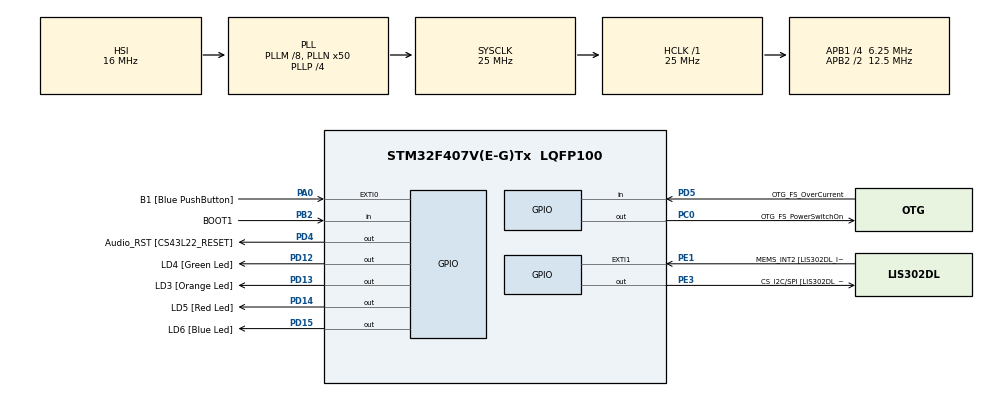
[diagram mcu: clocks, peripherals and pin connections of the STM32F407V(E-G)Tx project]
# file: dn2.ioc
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Mcu.Family=STM32F4
Mcu.Name=STM32F407V(E-G)Tx
Mcu.Package=LQFP100
NVIC.PriorityGroup=NVIC_PRIORITYGROUP_0
PA0-WKUP.GPIO_Label=B1 [Blue PushButton]
PA0-WKUP.Signal=GPXTI0
PA10.GPIO_Label=OTG_FS_ID
PA10.GPIO_Mode=GPIO_MODE_AF_PP
PA10.GPIO_PuPd=GPIO_NOPULL
PA10.GPIO_Speed=GPIO_SPEED_FREQ_LOW
PA10.Signal=USB_OTG_FS_ID
PA11.GPIO_Label=OTG_FS_DM
PA11.GPIO_Mode=GPIO_MODE_AF_PP
PA11.GPIO_PuPd=GPIO_NOPULL
PA11.GPIO_Speed=GPIO_SPEED_FREQ_LOW
PA11.Signal=USB_OTG_FS_DM
PA12.GPIO_Label=OTG_FS_DP
PA12.GPIO_Mode=GPIO_MODE_AF_PP
PA12.GPIO_PuPd=GPIO_NOPULL
PA12.GPIO_Speed=GPIO_SPEED_FREQ_LOW
PA12.Signal=USB_OTG_FS_DP
PA13.GPIO_Label=SWDIO
PA13.Signal=SYS_JTMS-SWDIO
PA14.GPIO_Label=SWCLK
PA14.Signal=SYS_JTCK-SWCLK
PA4.GPIO_Label=I2S3_WS [CS43L22_LRCK]
PA4.GPIO_Mode=GPIO_MODE_AF_PP
PA4.GPIO_PuPd=GPIO_NOPULL
PA4.GPIO_Speed=GPIO_SPEED_FREQ_LOW
PA4.Signal=I2S3_WS
PA5.GPIO_Label=SPI1_SCK [LIS302DL_SCL/SPC]
PA5.GPIO_Mode=GPIO_MODE_AF_PP
PA5.GPIO_PuPd=GPIO_NOPULL
PA5.GPIO_Speed=GPIO_SPEED_FREQ_LOW
PA5.Signal=SPI1_SCK
PA6.GPIO_Label=SPI1_MISO [LIS302DL_SDO]
PA6.GPIO_Mode=GPIO_MODE_AF_PP
PA6.GPIO_PuPd=GPIO_NOPULL
PA6.GPIO_Speed=GPIO_SPEED_FREQ_LOW
PA6.Signal=SPI1_MISO
PA7.GPIO_Label=SPI1_MOSI [LIS302DL_SDA/SDI/SDO]
PA7.GPIO_Mode=GPIO_MODE_AF_PP
PA7.GPIO_PuPd=GPIO_NOPULL
PA7.GPIO_Speed=GPIO_SPEED_FREQ_LOW
PA7.Signal=SPI1_MOSI
PA9.GPIO_Label=VBUS_FS
PA9.GPIO_Mode=GPIO_MODE_INPUT
PA9.GPIO_PuPd=GPIO_NOPULL
PA9.Signal=USB_OTG_FS_VBUS
PB10.GPIO_Label=CLK_IN [MP45DT02_CLK]
PB10.GPIO_Mode=GPIO_MODE_AF_PP
PB10.GPIO_PuPd=GPIO_NOPULL
PB10.GPIO_Speed=GPIO_SPEED_FREQ_LOW
PB10.Signal=I2S2_CK
PB2.GPIO_Label=BOOT1
PB2.GPIO_Mode=GPIO_MODE_INPUT
PB2.GPIO_PuPd=GPIO_NOPULL
PB2.Signal=GPIO_Input
PB3.GPIO_Label=SWO
PB3.Signal=SYS_JTDO-SWO
PB6.GPIO_Label=Audio_SCL [CS43L22_SCL]
PB6.GPIO_Mode=GPIO_MODE_AF_OD
PB6.GPIO_PuPd=GPIO_NOPULL
PB6.GPIO_Speed=GPIO_SPEED_FREQ_LOW
PB6.Signal=I2C1_SCL
PB9.GPIO_Label=Audio_SDA [CS43L22_SDA]
PB9.GPIO_Mode=GPIO_MODE_AF_OD
PB9.GPIO_PuPd=GPIO_NOPULL
PB9.GPIO_Speed=GPIO_SPEED_FREQ_LOW
PB9.Signal=I2C1_SDA
PC0.GPIO_Label=OTG_FS_PowerSwitchOn
PC0.GPIO_PuPd=GPIO_NOPULL
PC0.GPIO_Speed=GPIO_SPEED_FREQ_LOW
PC0.PinState=GPIO_PIN_SET
PC0.Signal=GPIO_Output
PC10.GPIO_Label=I2S3_SCK [CS43L22_SCLK]
PC10.GPIO_Mode=GPIO_MODE_AF_PP
PC10.GPIO_PuPd=GPIO_NOPULL
PC10.GPIO_Speed=GPIO_SPEED_FREQ_LOW
PC10.Signal=I2S3_CK
PC12.GPIO_Label=I2S3_SD [CS43L22_SDIN]
PC12.GPIO_Mode=GPIO_MODE_AF_PP
PC12.GPIO_PuPd=GPIO_NOPULL
PC12.GPIO_Speed=GPIO_SPEED_FREQ_LOW
PC12.Signal=I2S3_SD
PC14-OSC32_IN.GPIO_Label=PC14-OSC32_IN
PC14-OSC32_IN.Signal=RCC_OSC32_IN
PC15-OSC32_OUT.GPIO_Label=PC15-OSC32_OUT
PC15-OSC32_OUT.Signal=RCC_OSC32_OUT
PC3.GPIO_Label=PDM_OUT [MP45DT02_DOUT]
PC3.GPIO_Mode=GPIO_MODE_AF_PP
PC3.GPIO_PuPd=GPIO_NOPULL
PC3.GPIO_Speed=GPIO_SPEED_FREQ_LOW
PC3.Signal=I2S2_SD
PC7.GPIO_Label=I2S3_MCK [CS43L22_MCLK]
PC7.GPIO_Mode=GPIO_MODE_AF_PP
PC7.GPIO_PuPd=GPIO_NOPULL
PC7.GPIO_Speed=GPIO_SPEED_FREQ_LOW
PC7.Signal=I2S3_MCK
PD12.GPIO_Label=LD4 [Green Led]
PD12.GPIO_PuPd=GPIO_NOPULL
PD12.GPIO_Speed=GPIO_SPEED_FREQ_LOW
PD12.Signal=GPIO_Output
PD13.GPIO_Label=LD3 [Orange Led]
PD13.GPIO_PuPd=GPIO_NOPULL
PD13.GPIO_Speed=GPIO_SPEED_FREQ_LOW
PD13.Signal=GPIO_Output
PD14.GPIO_Label=LD5 [Red Led]
PD14.GPIO_PuPd=GPIO_NOPULL
PD14.GPIO_Speed=GPIO_SPEED_FREQ_LOW
PD14.Signal=GPIO_Output
PD15.GPIO_Label=LD6 [Blue Led]
PD15.GPIO_PuPd=GPIO_NOPULL
PD15.GPIO_Speed=GPIO_SPEED_FREQ_LOW
PD15.Signal=GPIO_Output
PD4.GPIO_Label=Audio_RST [CS43L22_RESET]
PD4.GPIO_PuPd=GPIO_NOPULL
PD4.GPIO_Speed=GPIO_SPEED_FREQ_LOW
PD4.Signal=GPIO_Output
PD5.GPIO_Label=OTG_FS_OverCurrent
PD5.GPIO_Mode=GPIO_MODE_INPUT
PD5.GPIO_PuPd=GPIO_NOPULL
PD5.Signal=GPIO_Input
PE1.GPIO_Label=MEMS_INT2 [LIS302DL_INT2]
PE1.GPIO_ModeDefaultEXTI=GPIO_MODE_EVT_RISING
PE1.GPIO_PuPd=GPIO_NOPULL
PE1.Signal=GPXTI1
PE3.GPIO_Label=CS_I2C/SPI [LIS302DL_CS_I2C/SPI]
PE3.GPIO_PuPd=GPIO_NOPULL
PE3.GPIO_Speed=GPIO_SPEED_FREQ_LOW
PE3.Signal=GPIO_Output
PH0-OSC_IN.GPIO_Label=PH0-OSC_IN
PH0-OSC_IN.Signal=RCC_OSC_IN
PH1-OSC_OUT.GPIO_Label=PH1-OSC_OUT
PH1-OSC_OUT.Signal=RCC_OSC_OUT
ProjectManager.HeapSize=0x200
ProjectManager.StackSize=0x400
ProjectManager.TargetToolchain=STM32CubeIDE
RCC.48MHZClocksFreq_Value=14285714.285714285
RCC.AHBFreq_Value=25000000
RCC.APB1CLKDivider=RCC_HCLK_DIV4
RCC.APB1Freq_Value=6250000
RCC.APB1TimFreq_Value=12500000
RCC.APB2CLKDivider=RCC_HCLK_DIV2
RCC.APB2Freq_Value=12500000
RCC.APB2TimFreq_Value=25000000
RCC.CortexFreq_Value=25000000
RCC.HCLKFreq_Value=25000000
RCC.HSE_VALUE=8000000
RCC.HSI_VALUE=16000000
RCC.LSE_VALUE=32768
RCC.PLLM=8
RCC.PLLN=50
RCC.PLLP=RCC_PLLP_DIV4
RCC.PLLQ=7
RCC.SYSCLKFreq_VALUE=25000000
RCC.SYSCLKSource=RCC_SYSCLKSOURCE_PLLCLK
RCC.VCOOutputFreq_Value=100000000
board=STM32F407G-DISC1

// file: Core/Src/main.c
/* USER CODE BEGIN Header */
/**
  ******************************************************************************
  * @file           : main.c
  * @brief          : Main program body
  ******************************************************************************
  * @attention
  *
  * <h2><center>&copy; Copyright (c) 2021 STMicroelectronics.
  * All rights reserved.</center></h2>
  *
  * This software component is licensed by ST under BSD 3-Clause license,
  * the "License"; You may not use this file except in compliance with the
  * License. You may obtain a copy of the License at:
  *                        opensource.org/licenses/BSD-3-Clause
  *
  ******************************************************************************
  */
/* USER CODE END Header */
#include "main.h"

void SystemClock_Config(void);
static void MX_GPIO_Init(void);

int main(void)
{

  /* MCU Configuration--------------------------------------------------------*/

  /* Reset of all peripherals, Initializes the Flash interface and the Systick. */
  HAL_Init();

  /* Configure the system clock */
  SystemClock_Config();

  /* Initialize all configured peripherals */
  MX_GPIO_Init();
  /* USER CODE BEGIN 2 */

  GPIO_InitTypeDef button;
  button.Pin  = GPIO_PIN_0;
  button.Mode = GPIO_MODE_IT_RISING;
  button.Pull = GPIO_NOPULL;
  HAL_GPIO_Init(GPIOA, &button);

  __HAL_RCC_SPI1_CLK_ENABLE();
  SPI_HandleTypeDef hspi1;
  hspi1.Instance = SPI1;
  hspi1.Init.Mode = SPI_MODE_MASTER;
  hspi1.Init.Direction = SPI_DIRECTION_2LINES;
  hspi1.Init.DataSize = SPI_DATASIZE_8BIT;
  hspi1.Init.CLKPolarity = SPI_POLARITY_LOW;
  hspi1.Init.CLKPhase = SPI_PHASE_1EDGE;
  hspi1.Init.NSS = SPI_NSS_SOFT;
  hspi1.Init.BaudRatePrescaler = SPI_BAUDRATEPRESCALER_256;
  hspi1.Init.FirstBit = SPI_FIRSTBIT_MSB;
  hspi1.Init.CRCCalculation = SPI_CRCCALCULATION_DISABLE;
  HAL_SPI_Init(&hspi1);

  __HAL_RCC_GPIOA_CLK_ENABLE();

  GPIO_InitTypeDef init_structure;
  init_structure.Pin = GPIO_PIN_5 | GPIO_PIN_6 | GPIO_PIN_7;
  init_structure.Pull = GPIO_NOPULL;
  init_structure.Speed = GPIO_SPEED_FREQ_LOW;
  init_structure.Mode = GPIO_MODE_AF_PP;
  init_structure.Alternate = GPIO_AF5_SPI1;
  HAL_GPIO_Init(GPIOA, &init_structure);

  __HAL_RCC_GPIOE_CLK_ENABLE();
  init_structure.Pin = GPIO_PIN_3;
  init_structure.Pull = GPIO_NOPULL;
  init_structure.Speed = GPIO_SPEED_FREQ_LOW;
  init_structure.Mode = GPIO_MODE_OUTPUT_PP;
  HAL_GPIO_Init(GPIOE, &init_structure);
  HAL_GPIO_WritePin(GPIOE, GPIO_PIN_3, GPIO_PIN_SET);

  __HAL_RCC_GPIOD_CLK_ENABLE();

  GPIO_InitTypeDef leds;
  leds.Pin =  GPIO_PIN_12 | GPIO_PIN_13 | GPIO_PIN_14 | GPIO_PIN_15;
  leds.Mode = GPIO_MODE_OUTPUT_PP;
  leds.Pull = GPIO_NOPULL;
  leds.Speed = GPIO_SPEED_FREQ_LOW;

  HAL_GPIO_Init(GPIOD,&leds);

  /* USER CODE END 2 */
  uint8_t in;
  uint8_t out;

  int8_t BaseNaklonX = 0;
  int8_t BaseNaklonY = 0;

  int8_t x_acc;
  int8_t y_acc;

  // slave deselect
  HAL_GPIO_WritePin(GPIOE, GPIO_PIN_3, GPIO_PIN_RESET); // izberemo slave
  out = 0x8F;
  HAL_SPI_TransmitReceive(&hspi1, &out, &in, 1, HAL_MAX_DELAY);
  HAL_SPI_TransmitReceive(&hspi1, &out, &in, 1, HAL_MAX_DELAY);
  HAL_GPIO_WritePin(GPIOE, GPIO_PIN_3, GPIO_PIN_SET);

  HAL_GPIO_WritePin(GPIOE, GPIO_PIN_3, GPIO_PIN_RESET);
  out = 0x20;
  HAL_SPI_TransmitReceive(&hspi1, &out, &in, 1, HAL_MAX_DELAY);
  out = 0x47;
  HAL_SPI_TransmitReceive(&hspi1, &out, &in, 1, HAL_MAX_DELAY);
  HAL_GPIO_WritePin(GPIOE, GPIO_PIN_3, GPIO_PIN_SET);

  HAL_Delay(500);
  HAL_NVIC_SetPriority(EXTI0_IRQn, 1, 2);

  HAL_NVIC_EnableIRQ(EXTI0_IRQn);

  extern volatile int stanje;
  extern volatile int reset;
  /* Infinite loop */
  while (1)
  {
    if(reset != 0) {
      HAL_GPIO_WritePin(GPIOE, GPIO_PIN_3, GPIO_PIN_RESET);
      out = 0x29 | 0x80; // 0xa9
      HAL_SPI_TransmitReceive(&hspi1, &out, &in, 1, HAL_MAX_DELAY);
      HAL_SPI_TransmitReceive(&hspi1, &out, &in, 1, HAL_MAX_DELAY);
      HAL_GPIO_WritePin(GPIOE, GPIO_PIN_3, GPIO_PIN_SET);

      BaseNaklonX = in;

      HAL_GPIO_WritePin(GPIOE, GPIO_PIN_3, GPIO_PIN_RESET);
      out = 0x2B | 0x80; // 0xaB
      HAL_SPI_TransmitReceive(&hspi1, &out, &in, 1, HAL_MAX_DELAY);
      HAL_SPI_TransmitReceive(&hspi1, &out, &in, 1, HAL_MAX_DELAY);
      HAL_GPIO_WritePin(GPIOE, GPIO_PIN_3, GPIO_PIN_SET);

      BaseNaklonY = in;
      reset = 0;

    }

    HAL_GPIO_WritePin(GPIOE, GPIO_PIN_3, GPIO_PIN_RESET);
	  out = 0x29 | 0x80; // 0xa9
	  HAL_SPI_TransmitReceive(&hspi1, &out, &in, 1, HAL_MAX_DELAY);
	  HAL_SPI_TransmitReceive(&hspi1, &out, &in, 1, HAL_MAX_DELAY);
	  HAL_GPIO_WritePin(GPIOE, GPIO_PIN_3, GPIO_PIN_SET);

	  x_acc = in;

	  HAL_GPIO_WritePin(GPIOE, GPIO_PIN_3, GPIO_PIN_RESET);
	  out = 0x2B | 0x80; // 0xaB
	  HAL_SPI_TransmitReceive(&hspi1, &out, &in, 1, HAL_MAX_DELAY);
	  HAL_SPI_TransmitReceive(&hspi1, &out, &in, 1, HAL_MAX_DELAY);
	  HAL_GPIO_WritePin(GPIOE, GPIO_PIN_3, GPIO_PIN_SET);

	  y_acc = in;

    switch(stanje)
    {
      case 0: // x os
        if(x_acc - BaseNaklonX < -5){
          HAL_GPIO_WritePin(GPIOD, GPIO_PIN_12, 1);
          HAL_GPIO_WritePin(GPIOD, GPIO_PIN_14, 0);
        }else if (x_acc - BaseNaklonX > 5){
          HAL_GPIO_WritePin(GPIOD, GPIO_PIN_12, 0);
          HAL_GPIO_WritePin(GPIOD, GPIO_PIN_14, 1);
        }else {
          HAL_GPIO_WritePin(GPIOD, GPIO_PIN_12, 0);
          HAL_GPIO_WritePin(GPIOD, GPIO_PIN_14, 0);
        }
        break;
      case 1: //y os
        if(y_acc - BaseNaklonY  < -5){
          HAL_GPIO_WritePin(GPIOD, GPIO_PIN_13, 0);
          HAL_GPIO_WritePin(GPIOD, GPIO_PIN_15, 1);
        }else if (y_acc - BaseNaklonY > 5){
          HAL_GPIO_WritePin(GPIOD, GPIO_PIN_13, 1);
          HAL_GPIO_WritePin(GPIOD, GPIO_PIN_15, 0);
        }else {
          HAL_GPIO_WritePin(GPIOD, GPIO_PIN_13, 0);
          HAL_GPIO_WritePin(GPIOD, GPIO_PIN_15, 0);
        }
        break;
      case 2: // oboje
        if(x_acc - BaseNaklonX < -5){
          HAL_GPIO_WritePin(GPIOD, GPIO_PIN_12, 1);
          HAL_GPIO_WritePin(GPIOD, GPIO_PIN_14, 0);
        }
        else if(x_acc - BaseNaklonX > 5){
          HAL_GPIO_WritePin(GPIOD, GPIO_PIN_12, 0);
          HAL_GPIO_WritePin(GPIOD, GPIO_PIN_14, 1);
        }
        else{
          HAL_GPIO_WritePin(GPIOD, GPIO_PIN_12, 0);
          HAL_GPIO_WritePin(GPIOD, GPIO_PIN_14, 0);
        }

        if(y_acc - BaseNaklonY < -5){
          HAL_GPIO_WritePin(GPIOD, GPIO_PIN_13, 0);
          HAL_GPIO_WritePin(GPIOD, GPIO_PIN_15, 1);
        }else if(y_acc - BaseNaklonY > 5){
          HAL_GPIO_WritePin(GPIOD, GPIO_PIN_13, 1);
          HAL_GPIO_WritePin(GPIOD, GPIO_PIN_15, 0);
        }else{
          HAL_GPIO_WritePin(GPIOD, GPIO_PIN_13, 0);
          HAL_GPIO_WritePin(GPIOD, GPIO_PIN_15, 0);
        }
        break;
    }
  }
}

void SystemClock_Config(void)
{
  RCC_OscInitTypeDef RCC_OscInitStruct = {0};
  RCC_ClkInitTypeDef RCC_ClkInitStruct = {0};

  /** Configure the main internal regulator output voltage
  */
  __HAL_RCC_PWR_CLK_ENABLE();
  __HAL_PWR_VOLTAGESCALING_CONFIG(PWR_REGULATOR_VOLTAGE_SCALE1);
  /** Initializes the RCC Oscillators according to the specified parameters
  * in the RCC_OscInitTypeDef structure.
  */
  RCC_OscInitStruct.OscillatorType = RCC_OSCILLATORTYPE_HSI;
  RCC_OscInitStruct.HSIState = RCC_HSI_ON;
  RCC_OscInitStruct.HSICalibrationValue = RCC_HSICALIBRATION_DEFAULT;
  RCC_OscInitStruct.PLL.PLLState = RCC_PLL_ON;
  RCC_OscInitStruct.PLL.PLLSource = RCC_PLLSOURCE_HSI;
  RCC_OscInitStruct.PLL.PLLM = 8;
  RCC_OscInitStruct.PLL.PLLN = 50;
  RCC_OscInitStruct.PLL.PLLP = RCC_PLLP_DIV4;
  RCC_OscInitStruct.PLL.PLLQ = 7;
  if (HAL_RCC_OscConfig(&RCC_OscInitStruct) != HAL_OK)
  {
    Error_Handler();
  }
  /** Initializes the CPU, AHB and APB buses clocks
  */
  RCC_ClkInitStruct.ClockType = RCC_CLOCKTYPE_HCLK|RCC_CLOCKTYPE_SYSCLK
                              |RCC_CLOCKTYPE_PCLK1|RCC_CLOCKTYPE_PCLK2;
  RCC_ClkInitStruct.SYSCLKSource = RCC_SYSCLKSOURCE_PLLCLK;
  RCC_ClkInitStruct.AHBCLKDivider = RCC_SYSCLK_DIV1;
  RCC_ClkInitStruct.APB1CLKDivider = RCC_HCLK_DIV4;
  RCC_ClkInitStruct.APB2CLKDivider = RCC_HCLK_DIV2;

  if (HAL_RCC_ClockConfig(&RCC_ClkInitStruct, FLASH_LATENCY_0) != HAL_OK)
  {
    Error_Handler();
  }
}

static void MX_GPIO_Init(void)
{
  GPIO_InitTypeDef GPIO_InitStruct = {0};

  /* GPIO Ports Clock Enable */
  __HAL_RCC_GPIOE_CLK_ENABLE();
  __HAL_RCC_GPIOC_CLK_ENABLE();
  __HAL_RCC_GPIOH_CLK_ENABLE();
  __HAL_RCC_GPIOA_CLK_ENABLE();
  __HAL_RCC_GPIOB_CLK_ENABLE();
  __HAL_RCC_GPIOD_CLK_ENABLE();

  /*Configure GPIO pin Output Level */
  HAL_GPIO_WritePin(CS_I2C_SPI_GPIO_Port, CS_I2C_SPI_Pin, GPIO_PIN_RESET);

  /*Configure GPIO pin Output Level */
  HAL_GPIO_WritePin(OTG_FS_PowerSwitchOn_GPIO_Port, OTG_FS_PowerSwitchOn_Pin, GPIO_PIN_SET);

  /*Configure GPIO pin Output Level */
  HAL_GPIO_WritePin(GPIOD, LD4_Pin|LD3_Pin|LD5_Pin|LD6_Pin
                          |Audio_RST_Pin, GPIO_PIN_RESET);

  /*Configure GPIO pin : CS_I2C_SPI_Pin */
  GPIO_InitStruct.Pin = CS_I2C_SPI_Pin;
  GPIO_InitStruct.Mode = GPIO_MODE_OUTPUT_PP;
  GPIO_InitStruct.Pull = GPIO_NOPULL;
  GPIO_InitStruct.Speed = GPIO_SPEED_FREQ_LOW;
  HAL_GPIO_Init(CS_I2C_SPI_GPIO_Port, &GPIO_InitStruct);

  /*Configure GPIO pin : OTG_FS_PowerSwitchOn_Pin */
  GPIO_InitStruct.Pin = OTG_FS_PowerSwitchOn_Pin;
  GPIO_InitStruct.Mode = GPIO_MODE_OUTPUT_PP;
  GPIO_InitStruct.Pull = GPIO_NOPULL;
  GPIO_InitStruct.Speed = GPIO_SPEED_FREQ_LOW;
  HAL_GPIO_Init(OTG_FS_PowerSwitchOn_GPIO_Port, &GPIO_InitStruct);

  /*Configure GPIO pin : PDM_OUT_Pin */
  GPIO_InitStruct.Pin = PDM_OUT_Pin;
  GPIO_InitStruct.Mode = GPIO_MODE_AF_PP;
  GPIO_InitStruct.Pull = GPIO_NOPULL;
  GPIO_InitStruct.Speed = GPIO_SPEED_FREQ_LOW;
  GPIO_InitStruct.Alternate = GPIO_AF5_SPI2;
  HAL_GPIO_Init(PDM_OUT_GPIO_Port, &GPIO_InitStruct);

  /*Configure GPIO pin : B1_Pin */
  GPIO_InitStruct.Pin = B1_Pin;
  GPIO_InitStruct.Mode = GPIO_MODE_IT_RISING;
  GPIO_InitStruct.Pull = GPIO_NOPULL;
  HAL_GPIO_Init(B1_GPIO_Port, &GPIO_InitStruct);

  /*Configure GPIO pin : I2S3_WS_Pin */
  GPIO_InitStruct.Pin = I2S3_WS_Pin;
  GPIO_InitStruct.Mode = GPIO_MODE_AF_PP;
  GPIO_InitStruct.Pull = GPIO_NOPULL;
  GPIO_InitStruct.Speed = GPIO_SPEED_FREQ_LOW;
  GPIO_InitStruct.Alternate = GPIO_AF6_SPI3;
  HAL_GPIO_Init(I2S3_WS_GPIO_Port, &GPIO_InitStruct);

  /*Configure GPIO pins : SPI1_SCK_Pin SPI1_MISO_Pin SPI1_MOSI_Pin */
  GPIO_InitStruct.Pin = SPI1_SCK_Pin|SPI1_MISO_Pin|SPI1_MOSI_Pin;
  GPIO_InitStruct.Mode = GPIO_MODE_AF_PP;
  GPIO_InitStruct.Pull = GPIO_NOPULL;
  GPIO_InitStruct.Speed = GPIO_SPEED_FREQ_LOW;
  GPIO_InitStruct.Alternate = GPIO_AF5_SPI1;
  HAL_GPIO_Init(GPIOA, &GPIO_InitStruct);

  /*Configure GPIO pin : BOOT1_Pin */
  GPIO_InitStruct.Pin = BOOT1_Pin;
  GPIO_InitStruct.Mode = GPIO_MODE_INPUT;
  GPIO_InitStruct.Pull = GPIO_NOPULL;
  HAL_GPIO_Init(BOOT1_GPIO_Port, &GPIO_InitStruct);

  /*Configure GPIO pin : CLK_IN_Pin */
  GPIO_InitStruct.Pin = CLK_IN_Pin;
  GPIO_InitStruct.Mode = GPIO_MODE_AF_PP;
  GPIO_InitStruct.Pull = GPIO_NOPULL;
  GPIO_InitStruct.Speed = GPIO_SPEED_FREQ_LOW;
  GPIO_InitStruct.Alternate = GPIO_AF5_SPI2;
  HAL_GPIO_Init(CLK_IN_GPIO_Port, &GPIO_InitStruct);

  /*Configure GPIO pins : LD4_Pin LD3_Pin LD5_Pin LD6_Pin
                           Audio_RST_Pin */
  GPIO_InitStruct.Pin = LD4_Pin|LD3_Pin|LD5_Pin|LD6_Pin
                          |Audio_RST_Pin;
  GPIO_InitStruct.Mode = GPIO_MODE_OUTPUT_PP;
  GPIO_InitStruct.Pull = GPIO_NOPULL;
  GPIO_InitStruct.Speed = GPIO_SPEED_FREQ_LOW;
  HAL_GPIO_Init(GPIOD, &GPIO_InitStruct);

  /*Configure GPIO pins : I2S3_MCK_Pin I2S3_SCK_Pin I2S3_SD_Pin */
  GPIO_InitStruct.Pin = I2S3_MCK_Pin|I2S3_SCK_Pin|I2S3_SD_Pin;
  GPIO_InitStruct.Mode = GPIO_MODE_AF_PP;
  GPIO_InitStruct.Pull = GPIO_NOPULL;
  GPIO_InitStruct.Speed = GPIO_SPEED_FREQ_LOW;
  GPIO_InitStruct.Alternate = GPIO_AF6_SPI3;
  HAL_GPIO_Init(GPIOC, &GPIO_InitStruct);

  /*Configure GPIO pin : VBUS_FS_Pin */
  GPIO_InitStruct.Pin = VBUS_FS_Pin;
  GPIO_InitStruct.Mode = GPIO_MODE_INPUT;
  GPIO_InitStruct.Pull = GPIO_NOPULL;
  HAL_GPIO_Init(VBUS_FS_GPIO_Port, &GPIO_InitStruct);

  /*Configure GPIO pins : OTG_FS_ID_Pin OTG_FS_DM_Pin OTG_FS_DP_Pin */
  GPIO_InitStruct.Pin = OTG_FS_ID_Pin|OTG_FS_DM_Pin|OTG_FS_DP_Pin;
  GPIO_InitStruct.Mode = GPIO_MODE_AF_PP;
  GPIO_InitStruct.Pull = GPIO_NOPULL;
  GPIO_InitStruct.Speed = GPIO_SPEED_FREQ_LOW;
  GPIO_InitStruct.Alternate = GPIO_AF10_OTG_FS;
  HAL_GPIO_Init(GPIOA, &GPIO_InitStruct);

  /*Configure GPIO pin : OTG_FS_OverCurrent_Pin */
  GPIO_InitStruct.Pin = OTG_FS_OverCurrent_Pin;
  GPIO_InitStruct.Mode = GPIO_MODE_INPUT;
  GPIO_InitStruct.Pull = GPIO_NOPULL;
  HAL_GPIO_Init(OTG_FS_OverCurrent_GPIO_Port, &GPIO_InitStruct);

  /*Configure GPIO pins : Audio_SCL_Pin Audio_SDA_Pin */
  GPIO_InitStruct.Pin = Audio_SCL_Pin|Audio_SDA_Pin;
  GPIO_InitStruct.Mode = GPIO_MODE_AF_OD;
  GPIO_InitStruct.Pull = GPIO_NOPULL;
  GPIO_InitStruct.Speed = GPIO_SPEED_FREQ_LOW;
  GPIO_InitStruct.Alternate = GPIO_AF4_I2C1;
  HAL_GPIO_Init(GPIOB, &GPIO_InitStruct);

  /*Configure GPIO pin : MEMS_INT2_Pin */
  GPIO_InitStruct.Pin = MEMS_INT2_Pin;
  GPIO_InitStruct.Mode = GPIO_MODE_EVT_RISING;
  GPIO_InitStruct.Pull = GPIO_NOPULL;
  HAL_GPIO_Init(MEMS_INT2_GPIO_Port, &GPIO_InitStruct);

}

void Error_Handler(void)
{
  __disable_irq();
  while (1)
  {
  }
}

/************************ (C) COPYRIGHT STMicroelectronics *****END OF FILE****/
